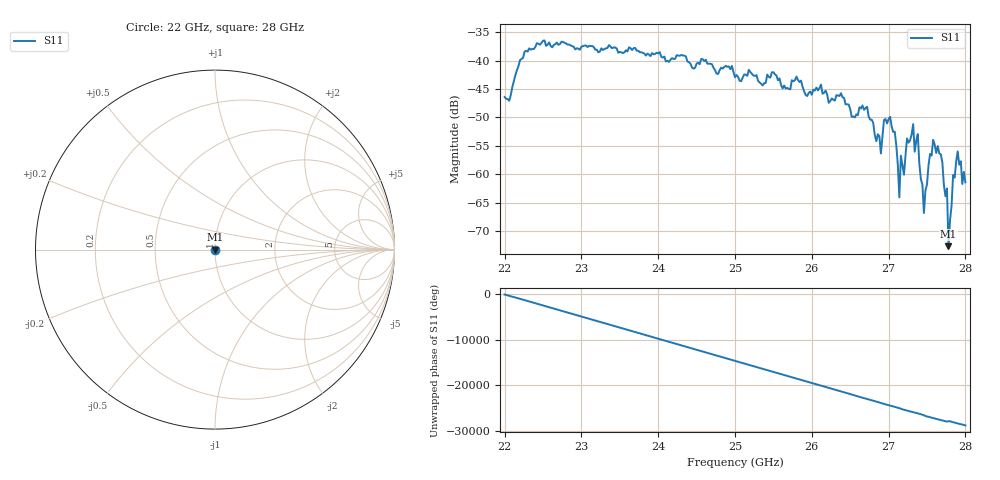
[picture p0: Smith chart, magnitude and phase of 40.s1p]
#  HZ  S  RI  R  50.00
! Rohde & Schwarz ZVA40 4Ports - Version 3.90 - 1145.1110k42 SN: 100403
! Date: 2023-10-04 10:39:05
! Measurement: S12
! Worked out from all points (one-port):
!   301 points, 22 GHz to 28 GHz, reference 50 ohm
!   lowest |S11| = -72.6 dB at 27.78 GHz (marker M1), VSWR 1.00, Z = 50 - j0.0223 ohm
!   |S11| at or under -10 dB: start of sweep to end of sweep
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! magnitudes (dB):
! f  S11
! 22 GHz  -46.4
! 22.26 GHz  -38.4
! 22.76 GHz  -36.7
! 23.5 GHz  -38.5
! 24.26 GHz  -39.1
! 25 GHz  -42.9
! 25.76 GHz  -43.6
! 26.5 GHz  -48.5
! 26.72 GHz  -48.1
! 26.9 GHz  -56.3
! 26.94 GHz  -50.5
! 27.02 GHz  -49.9
! 27.08 GHz  -52.5
! 27.14 GHz  -64.0
! 27.16 GHz  -56.7
! 27.2 GHz  -60.0
! 27.24 GHz  -53.7
! 27.26 GHz  -54.4
! 27.38 GHz  -52.9
! 27.46 GHz  -66.8
! 27.54 GHz  -56.4
! 27.64 GHz  -55.0
! 27.74 GHz  -63.8
! 27.76 GHz  -62.5
! 27.78 GHz  -72.6
! 27.84 GHz  -60.1
! 27.9 GHz  -56.0
! 28 GHz  -61.4
